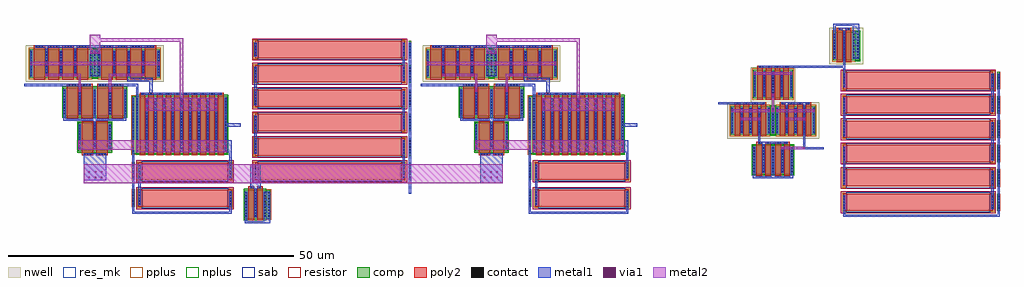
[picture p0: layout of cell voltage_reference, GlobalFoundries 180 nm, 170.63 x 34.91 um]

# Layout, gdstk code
from math import pi, radians
import gdstk
lib = gdstk.Library(unit=1e-6, precision=5e-09)
def R(c, l, rs):  # rectangles x0, y0, x1, y1
    for r in rs: c.add(gdstk.rectangle(r[:2], r[2:], *l))
def A(c, l, x, y, w, h, nx, ny, dx, dy):  # array of equal rectangles
    R(c, l, [(x+i*dx, y+j*dy, x+i*dx+w, y+j*dy+h) for i in range(nx) for j in range(ny)])
nwell = (21, 0)
comp = (22, 0)
poly2 = (30, 0)
pplus = (31, 0)
nplus = (32, 0)
contact = (33, 0)
metal1 = (34, 0)
via1 = (35, 0)
metal2 = (36, 0)
sab = (49, 0)
resistor = (62, 0)
res_mk = (110, 5)

nfet = lib.new_cell('nfet')
R(nfet, comp, [(-0.42,0,0,5), (0,0,4.9,5), (4.9,0,5.32,5)])
R(nfet, poly2, [(0.19,-0.3,2.19,5.3), (2.71,-0.3,4.71,5.3), (0.19,5.3,2.19,5.66), (2.71,5.3,4.71,5.66)])
R(nfet, nplus, [(-0.59,-0.24,5.49,5.24)])
A(nfet, contact, -0.32, 0.35, 0.22, 0.22, 3, 9, 2.66, 0.51)
A(nfet, contact, 0.57, 5.37, 0.22, 0.22, 3, 1, 0.51, 0)
A(nfet, contact, 3.09, 5.37, 0.22, 0.22, 3, 1, 0.51, 0)
A(nfet, metal1, -0.4, 0.27, 0.38, 4.46, 3, 1, 2.66, 0)
R(nfet, metal1, [(0.49,5.29,1.89,5.67), (3.01,5.29,4.41,5.67)])

pfet = lib.new_cell('pfet')
R(pfet, nwell, [(-1.15,-0.69,11.82,5.69)])
R(pfet, comp, [(-0.46,0,0,5), (0,0,9.94,5), (9.94,0,10.4,5), (10.4,0,11.13,5)])
A(pfet, poly2, 0.19, -0.3, 2, 5.6, 4, 1, 2.52, 0)
A(pfet, poly2, 0.19, 5.3, 2, 0.38, 4, 1, 2.52, 0)
R(pfet, pplus, [(-0.63,-0.24,10.4,5.24)])
R(pfet, nplus, [(10.4,-0.17,11.3,5.17)])
A(pfet, contact, -0.34, 0.35, 0.22, 0.22, 1, 9, 0, 0.51)
A(pfet, contact, 2.34, 0.35, 0.22, 0.22, 3, 9, 2.52, 0.51)
A(pfet, contact, 10.06, 0.35, 0.22, 0.22, 1, 9, 0, 0.51)
A(pfet, contact, 10.79, 0.35, 0.22, 0.22, 1, 9, 0, 0.51)
A(pfet, contact, 0.57, 5.38, 0.22, 0.22, 3, 1, 0.51, 0)
A(pfet, contact, 3.09, 5.38, 0.22, 0.22, 3, 1, 0.51, 0)
A(pfet, contact, 5.61, 5.38, 0.22, 0.22, 3, 1, 0.51, 0)
A(pfet, contact, 8.13, 5.38, 0.22, 0.22, 3, 1, 0.51, 0)
A(pfet, metal1, 2.26, 0.27, 0.38, 4.46, 3, 1, 2.52, 0)
A(pfet, metal1, 0.49, 5.3, 1.4, 0.38, 4, 1, 2.52, 0)
R(pfet, metal1, [(-0.42,0.27,-0.04,4.73), (9.98,0.27,10.36,4.73), (10.71,0.27,11.09,4.73)])

pfet_1 = lib.new_cell('pfet$1')
R(pfet_1, nwell, [(-1.15,-0.69,11.82,5.69)])
R(pfet_1, comp, [(-0.46,0,0,5), (0,0,9.94,5), (9.94,0,10.4,5), (10.4,0,11.13,5)])
A(pfet_1, poly2, 0.19, -0.68, 2, 0.38, 4, 1, 2.52, 0)
A(pfet_1, poly2, 0.19, -0.3, 2, 5.6, 4, 1, 2.52, 0)
R(pfet_1, pplus, [(-0.63,-0.24,10.4,5.24)])
R(pfet_1, nplus, [(10.4,-0.17,11.3,5.17)])
A(pfet_1, contact, 0.57, -0.6, 0.22, 0.22, 3, 1, 0.51, 0)
A(pfet_1, contact, 3.09, -0.6, 0.22, 0.22, 3, 1, 0.51, 0)
A(pfet_1, contact, 5.61, -0.6, 0.22, 0.22, 3, 1, 0.51, 0)
A(pfet_1, contact, 8.13, -0.6, 0.22, 0.22, 3, 1, 0.51, 0)
A(pfet_1, contact, -0.34, 0.35, 0.22, 0.22, 1, 9, 0, 0.51)
A(pfet_1, contact, 2.34, 0.35, 0.22, 0.22, 3, 9, 2.52, 0.51)
A(pfet_1, contact, 10.06, 0.35, 0.22, 0.22, 1, 9, 0, 0.51)
A(pfet_1, contact, 10.79, 0.35, 0.22, 0.22, 1, 9, 0, 0.51)
A(pfet_1, metal1, 0.49, -0.68, 1.4, 0.38, 4, 1, 2.52, 0)
A(pfet_1, metal1, 2.26, 0.27, 0.38, 4.46, 3, 1, 2.52, 0)
R(pfet_1, metal1, [(-0.42,0.27,-0.04,4.73), (9.98,0.27,10.36,4.73), (10.71,0.27,11.09,4.73)])

nfet_3 = lib.new_cell('nfet$3')
R(nfet_3, comp, [(-0.42,0,0,10), (0,0,15.06,10), (15.06,0,15.48,10), (15.48,0,16.19,10)])
A(nfet_3, poly2, 0.19, -0.66, 1, 0.36, 10, 1, 1.52, 0)
A(nfet_3, poly2, 0.19, -0.3, 1, 10.6, 10, 1, 1.52, 0)
R(nfet_3, pplus, [(15.48,-0.17,16.36,10.17)])
R(nfet_3, nplus, [(-0.59,-0.24,15.48,10.24)])
A(nfet_3, contact, 0.58, -0.59, 0.22, 0.22, 10, 1, 1.52, 0)
A(nfet_3, contact, -0.32, 0.3, 0.22, 0.22, 1, 19, 0, 0.51)
A(nfet_3, contact, 1.34, 0.3, 0.22, 0.22, 9, 19, 1.52, 0.51)
A(nfet_3, contact, 15.16, 0.3, 0.22, 0.22, 1, 19, 0, 0.51)
A(nfet_3, contact, 15.87, 0.3, 0.22, 0.22, 1, 19, 0, 0.51)
A(nfet_3, metal1, 0.5, -0.67, 0.38, 0.38, 10, 1, 1.52, 0)
A(nfet_3, metal1, 1.26, 0.22, 0.38, 9.56, 9, 1, 1.52, 0)
R(nfet_3, metal1, [(-0.4,0.22,-0.02,9.78), (15.08,0.22,15.46,9.78), (15.79,0.22,16.17,9.78)])

nfet_1 = lib.new_cell('nfet$1')
R(nfet_1, comp, [(-0.42,0,0,5), (0,0,4.9,5), (4.9,0,5.32,5)])
R(nfet_1, poly2, [(0.19,-0.66,2.19,-0.3), (2.71,-0.66,4.71,-0.3), (0.19,-0.3,2.19,5.3), (2.71,-0.3,4.71,5.3)])
R(nfet_1, nplus, [(-0.59,-0.24,5.49,5.24)])
A(nfet_1, contact, 0.57, -0.59, 0.22, 0.22, 3, 1, 0.51, 0)
A(nfet_1, contact, 3.09, -0.59, 0.22, 0.22, 3, 1, 0.51, 0)
A(nfet_1, contact, -0.32, 0.35, 0.22, 0.22, 3, 9, 2.66, 0.51)
A(nfet_1, metal1, -0.4, 0.27, 0.38, 4.46, 3, 1, 2.66, 0)
R(nfet_1, metal1, [(0.49,-0.67,1.89,-0.29), (3.01,-0.67,4.41,-0.29)])

ppolyf_u_high_rs_resisto = lib.new_cell('ppolyf_u_high_Rs_resistor')
R(ppolyf_u_high_rs_resisto, comp, [(-1.76,0,-1.34,3)])
R(ppolyf_u_high_rs_resisto, poly2, [(-0.64,0,15.64,3)])
R(ppolyf_u_high_rs_resisto, pplus, [(-0.82,-0.18,0,3.18), (15,-0.18,15.82,3.18), (-1.78,-0.02,-1.32,3.02)])
A(ppolyf_u_high_rs_resisto, contact, -1.66, 0.37, 0.22, 0.22, 1, 5, 0, 0.51)
A(ppolyf_u_high_rs_resisto, contact, -0.57, 0.37, 0.22, 0.22, 1, 5, 0, 0.51)
A(ppolyf_u_high_rs_resisto, contact, 15.35, 0.37, 0.22, 0.22, 1, 5, 0, 0.51)
R(ppolyf_u_high_rs_resisto, metal1, [(-1.74,0.29,-1.36,2.71), (-0.65,0.29,-0.27,2.71), (15.27,0.29,15.65,2.71)])
R(ppolyf_u_high_rs_resisto, sab, [(-0.1,-0.28,15.1,3.28)])
R(ppolyf_u_high_rs_resisto, resistor, [(-1.04,-0.4,16.04,3.4)])
R(ppolyf_u_high_rs_resisto, res_mk, [(0,0,15,3)])

nfet_2 = lib.new_cell('nfet$2')
R(nfet_2, comp, [(-0.42,0,0,5), (0,0,2.9,5), (2.9,0,3.32,5), (3.32,0,4.03,5)])
R(nfet_2, poly2, [(0.19,-0.3,1.19,5.3), (1.71,-0.3,2.71,5.3), (0.19,5.3,1.19,5.66), (1.71,5.3,2.71,5.66)])
R(nfet_2, pplus, [(3.32,-0.17,4.2,5.17)])
R(nfet_2, nplus, [(-0.59,-0.24,3.32,5.24)])
A(nfet_2, contact, -0.32, 0.35, 0.22, 0.22, 3, 9, 1.66, 0.51)
A(nfet_2, contact, 3.71, 0.35, 0.22, 0.22, 1, 9, 0, 0.51)
R(nfet_2, contact, [(0.58,5.37,0.8,5.59), (2.1,5.37,2.32,5.59)])
A(nfet_2, metal1, -0.4, 0.27, 0.38, 4.46, 3, 1, 1.66, 0)
R(nfet_2, metal1, [(3.63,0.27,4.01,4.73), (0.5,5.29,0.88,5.67), (2.02,5.29,2.4,5.67)])

c_ppolyf_u_high_rs_resisto = lib.new_cell('ppolyf_u_high_Rs_resistor$8')
R(c_ppolyf_u_high_rs_resisto, comp, [(-1.76,0,-1.34,3)])
R(c_ppolyf_u_high_rs_resisto, poly2, [(-0.64,0,25.64,3)])
R(c_ppolyf_u_high_rs_resisto, pplus, [(-0.82,-0.18,0,3.18), (25,-0.18,25.82,3.18), (-1.78,-0.02,-1.32,3.02)])
A(c_ppolyf_u_high_rs_resisto, contact, -1.66, 0.37, 0.22, 0.22, 1, 5, 0, 0.51)
A(c_ppolyf_u_high_rs_resisto, contact, -0.57, 0.37, 0.22, 0.22, 1, 5, 0, 0.51)
A(c_ppolyf_u_high_rs_resisto, contact, 25.35, 0.37, 0.22, 0.22, 1, 5, 0, 0.51)
R(c_ppolyf_u_high_rs_resisto, metal1, [(-1.74,0.29,-1.36,2.71), (-0.65,0.29,-0.27,2.71), (25.27,0.29,25.65,2.71)])
R(c_ppolyf_u_high_rs_resisto, sab, [(-0.1,-0.28,25.1,3.28)])
R(c_ppolyf_u_high_rs_resisto, resistor, [(-1.04,-0.4,26.04,3.4)])
R(c_ppolyf_u_high_rs_resisto, res_mk, [(0,0,25,3)])

pfet_5 = lib.new_cell('pfet$5')
R(pfet_5, nwell, [(-1.15,-0.69,4.78,5.69)])
R(pfet_5, comp, [(-0.46,0,0,5), (0,0,2.9,5), (2.9,0,3.36,5), (3.36,0,4.09,5)])
R(pfet_5, poly2, [(0.19,-0.3,1.19,5.3), (1.71,-0.3,2.71,5.3), (0.19,5.3,1.19,5.68), (1.71,5.3,2.71,5.68)])
R(pfet_5, pplus, [(-0.63,-0.24,3.36,5.24)])
R(pfet_5, nplus, [(3.36,-0.17,4.26,5.17)])
A(pfet_5, contact, -0.34, 0.35, 0.22, 0.22, 3, 9, 1.68, 0.51)
A(pfet_5, contact, 3.75, 0.35, 0.22, 0.22, 1, 9, 0, 0.51)
R(pfet_5, contact, [(0.58,5.38,0.8,5.6), (2.1,5.38,2.32,5.6)])
A(pfet_5, metal1, -0.42, 0.27, 0.38, 4.46, 3, 1, 1.68, 0)
R(pfet_5, metal1, [(3.67,0.27,4.05,4.73), (0.5,5.3,0.88,5.68), (2.02,5.3,2.4,5.68)])

pfet_3 = lib.new_cell('pfet$3')
R(pfet_3, nwell, [(-0.9,-0.44,6.84,5.44)])
R(pfet_3, comp, [(-0.46,0,0,5), (0,0,5.94,5), (5.94,0,6.4,5)])
A(pfet_3, poly2, 0.19, -0.3, 1, 5.6, 4, 1, 1.52, 0)
A(pfet_3, poly2, 0.19, 5.3, 1, 0.38, 4, 1, 1.52, 0)
R(pfet_3, pplus, [(-0.63,-0.24,6.57,5.24)])
A(pfet_3, contact, -0.34, 0.35, 0.22, 0.22, 1, 9, 0, 0.51)
A(pfet_3, contact, 1.34, 0.35, 0.22, 0.22, 3, 9, 1.52, 0.51)
A(pfet_3, contact, 6.06, 0.35, 0.22, 0.22, 1, 9, 0, 0.51)
A(pfet_3, contact, 0.58, 5.38, 0.22, 0.22, 4, 1, 1.52, 0)
A(pfet_3, metal1, 1.26, 0.27, 0.38, 4.46, 3, 1, 1.52, 0)
A(pfet_3, metal1, 0.5, 5.3, 0.38, 0.38, 4, 1, 1.52, 0)
R(pfet_3, metal1, [(-0.42,0.27,-0.04,4.73), (5.98,0.27,6.36,4.73)])

pfet_2 = lib.new_cell('pfet$2')
R(pfet_2, nwell, [(-1.15,-0.69,7.82,5.69)])
R(pfet_2, comp, [(-0.46,0,0,5), (0,0,5.94,5), (5.94,0,6.4,5), (6.4,0,7.13,5)])
A(pfet_2, poly2, 0.19, -0.3, 1, 5.6, 4, 1, 1.52, 0)
A(pfet_2, poly2, 0.19, 5.3, 1, 0.38, 4, 1, 1.52, 0)
R(pfet_2, pplus, [(-0.63,-0.24,6.4,5.24)])
R(pfet_2, nplus, [(6.4,-0.17,7.3,5.17)])
A(pfet_2, contact, -0.34, 0.35, 0.22, 0.22, 1, 9, 0, 0.51)
A(pfet_2, contact, 1.34, 0.35, 0.22, 0.22, 3, 9, 1.52, 0.51)
A(pfet_2, contact, 6.06, 0.35, 0.22, 0.22, 1, 9, 0, 0.51)
A(pfet_2, contact, 6.79, 0.35, 0.22, 0.22, 1, 9, 0, 0.51)
A(pfet_2, contact, 0.58, 5.38, 0.22, 0.22, 4, 1, 1.52, 0)
A(pfet_2, metal1, 1.26, 0.27, 0.38, 4.46, 3, 1, 1.52, 0)
A(pfet_2, metal1, 0.5, 5.3, 0.38, 0.38, 4, 1, 1.52, 0)
R(pfet_2, metal1, [(-0.42,0.27,-0.04,4.73), (5.98,0.27,6.36,4.73), (6.71,0.27,7.09,4.73)])

nfet_4 = lib.new_cell('nfet$4')
R(nfet_4, comp, [(-0.42,0,0,5), (0,0,2.9,5), (2.9,0,3.32,5)])
R(nfet_4, poly2, [(0.19,-0.3,1.19,5.3), (1.71,-0.3,2.71,5.3), (0.19,5.3,1.19,5.66), (1.71,5.3,2.71,5.66)])
R(nfet_4, nplus, [(-0.59,-0.24,3.49,5.24)])
A(nfet_4, contact, -0.32, 0.35, 0.22, 0.22, 3, 9, 1.66, 0.51)
R(nfet_4, contact, [(0.58,5.37,0.8,5.59), (2.1,5.37,2.32,5.59)])
A(nfet_4, metal1, -0.4, 0.27, 0.38, 4.46, 3, 1, 1.66, 0)
R(nfet_4, metal1, [(0.5,5.29,0.88,5.67), (2.02,5.29,2.4,5.67)])

voltage_reference = lib.new_cell('voltage_reference')
R(voltage_reference, nwell, [(131.685,23.305,139.425,23.545)])
A(voltage_reference, metal1, 173.72, 4.585, 0.38, 6.68, 1, 3, 0, 8.52)
A(voltage_reference, metal1, 70.81, 10, 0.38, 6.68, 1, 3, 0, 8.52)
R(voltage_reference, metal1, [(46.55,2.11,47.64,7.655), (174.81,4.585,175.19,28.305), (23.505,5.3,23.885,14.535), (24.595,5.3,24.975,12.44), (92.855,5.3,93.235,14.535), (93.945,5.3,94.325,12.44), (44.13,8.215,46.03,8.595), (44.13,8.595,46.03,12.42), (147.8,8.845,148.18,15.525), (84.38,9.165,88.3,14.385), (15.03,9.665,18.95,14.385), (71.9,10,72.28,33.72), (40.515,12.44,40.895,16.625), (109.865,12.44,110.245,16.625), (15.03,14.005,18.95,14.385), (84.38,14.005,88.3,14.385), (44.89,14.26,45.27,20.94), (40.075,14.535,40.515,16.63), (109.425,14.535,109.865,16.63), (132.945,16.02,138.165,16.4), (147.8,17.365,148.18,24.045), (44.89,22.78,45.27,29.46), (129.155,22.915,134.095,23.295), (137.015,22.915,141.955,23.295), (25.115,24.605,39.175,24.985), (94.465,24.605,108.525,24.985), (12.37,26.105,16.29,26.485), (17.69,26.105,21.61,26.485), (81.72,26.105,85.64,26.485), (87.04,26.105,90.96,26.485), (16.07,27.805,17.91,32.265), (85.42,27.805,87.26,32.265), (133.085,29.285,138.025,29.665), (149.48,30.88,150.59,35.34), (6.58,32.835,27.4,33.215), (75.93,32.835,96.75,33.215), (149.86,35.34,150.59,37.025), (147.04,35.91,148.94,36.29)])
A(voltage_reference, via1, 32.025, 22.11, 0.26, 0.26, 3, 2, 3.035, 0.8)
A(voltage_reference, via1, 101.375, 22.11, 0.26, 0.26, 3, 2, 3.035, 0.8)
A(voltage_reference, via1, 32.025, 23.64, 0.26, 0.26, 3, 1, 3.035, 0)
A(voltage_reference, via1, 101.375, 23.64, 0.26, 0.26, 3, 1, 3.035, 0)
R(voltage_reference, via1, [(44.475,9.42,44.735,9.68), (45.425,9.42,45.685,9.68), (15.815,10.03,16.075,10.29), (16.955,10.03,17.215,10.29), (17.985,10.03,18.245,10.29), (85.01,10.03,85.27,10.29), (86.15,10.03,86.41,10.29), (87.18,10.03,87.44,10.29), (44.475,10.56,44.735,10.82), (45.425,10.56,45.685,10.82), (15.815,10.98,16.075,11.24), (16.955,10.98,17.215,11.24), (17.985,10.98,18.245,11.24), (85.01,10.98,85.27,11.24), (86.15,10.98,86.41,11.24), (87.18,10.98,87.44,11.24), (44.475,11.59,44.735,11.85), (45.425,11.59,45.685,11.85), (24.285,14.595,24.545,14.855), (27.465,14.595,27.725,14.855), (30.49,14.595,30.75,14.855), (33.53,14.595,33.79,14.855), (36.58,14.595,36.84,14.855), (39.76,14.595,40.02,14.855), (93.635,14.595,93.895,14.855), (96.815,14.595,97.075,14.855), (99.84,14.595,100.1,14.855), (102.88,14.595,103.14,14.855), (105.93,14.595,106.19,14.855), (109.11,14.595,109.37,14.855), (137.085,15.14,137.345,15.4), (140.88,15.14,141.14,15.4), (14.2,15.395,14.46,15.655), (19.52,15.395,19.78,15.655), (23.545,15.395,23.805,15.655), (24.285,15.395,24.545,15.655), (27.465,15.395,27.725,15.655), (30.49,15.395,30.75,15.655), (33.53,15.395,33.79,15.655), (36.58,15.395,36.84,15.655), (39.76,15.395,40.02,15.655), (83.55,15.395,83.81,15.655), (88.87,15.395,89.13,15.655), (92.895,15.395,93.155,15.655), (93.635,15.395,93.895,15.655), (96.815,15.395,97.075,15.655), (99.84,15.395,100.1,15.655), (102.88,15.395,103.14,15.655), (105.93,15.395,106.19,15.655), (109.11,15.395,109.37,15.655), (14.2,16.125,14.46,16.385), (19.52,16.125,19.78,16.385), (23.545,16.125,23.805,16.385), (24.285,16.125,24.545,16.385), (27.465,16.125,27.725,16.385), (30.49,16.125,30.75,16.385), (33.53,16.125,33.79,16.385), (36.58,16.125,36.84,16.385), (39.76,16.125,40.02,16.385), (83.55,16.125,83.81,16.385), (88.87,16.125,89.13,16.385), (92.895,16.125,93.155,16.385), (93.635,16.125,93.895,16.385), (96.815,16.125,97.075,16.385), (99.84,16.125,100.1,16.385), (102.88,16.125,103.14,16.385), (105.93,16.125,106.19,16.385), (109.11,16.125,109.37,16.385), (129.97,20.19,130.23,20.45), (133.02,20.19,133.28,20.45), (137.83,20.19,138.09,20.45), (140.88,20.19,141.14,20.45), (128.29,21.65,128.55,21.91), (131.505,21.65,131.765,21.91), (134.71,21.65,134.97,21.91), (135.43,21.65,135.69,21.91), (136.16,21.65,136.42,21.91), (139.375,21.65,139.635,21.91), (142.58,21.65,142.84,21.91), (25.93,22.11,26.19,22.37), (28.965,22.11,29.225,22.37), (95.28,22.11,95.54,22.37), (98.315,22.11,98.575,22.37), (25.93,22.91,26.19,23.17), (28.965,22.91,29.225,23.17), (95.28,22.91,95.54,23.17), (98.315,22.91,98.575,23.17), (25.93,23.64,26.19,23.9), (28.965,23.64,29.225,23.9), (95.28,23.64,95.54,23.9), (98.315,23.64,98.575,23.9), (135.43,24.35,135.69,24.61), (14.2,25.225,14.46,25.485), (19.525,25.225,19.785,25.485), (83.55,25.225,83.81,25.485), (88.875,25.225,89.135,25.485), (8.405,27.93,8.665,28.19), (13.47,27.93,13.73,28.19), (77.755,27.93,78.015,28.19), (82.82,27.93,83.08,28.19), (20.27,27.94,20.53,28.2), (25.335,27.94,25.595,28.2), (89.62,27.94,89.88,28.2), (94.685,27.94,94.945,28.2), (132.22,28.15,132.48,28.41), (135.435,28.15,135.695,28.41), (138.64,28.15,138.9,28.41), (5.725,29.88,5.985,30.14), (10.93,29.88,11.19,30.14), (16.13,29.88,16.39,30.14), (16.86,29.88,17.12,30.14), (17.595,29.88,17.855,30.14), (22.79,29.88,23.05,30.14), (27.995,29.88,28.255,30.14), (75.075,29.88,75.335,30.14), (80.28,29.88,80.54,30.14), (85.48,29.88,85.74,30.14), (86.21,29.88,86.47,30.14), (86.945,29.88,87.205,30.14), (92.14,29.88,92.4,30.14), (97.345,29.88,97.605,30.14), (16.13,31.93,16.39,32.19), (16.86,31.93,17.12,32.19), (17.595,31.93,17.855,32.19), (85.48,31.93,85.74,32.19), (86.21,31.93,86.47,32.19), (86.945,31.93,87.205,32.19)])
R(voltage_reference, metal2, [(15.03,9.165,88.3,12.42), (24.215,14.535,40.075,16.63), (93.565,14.535,109.425,16.63), (14.12,14.95,23.885,16.635), (83.47,14.95,93.235,16.635), (137.025,15.055,141.195,15.46), (129.915,20.115,133.335,20.59), (137.775,20.115,141.195,20.59), (135.365,21.495,135.745,24.765), (128.235,21.575,135.015,22.05), (136.105,21.575,142.885,22.05), (25.875,21.825,38.415,24.095), (95.225,21.825,107.765,24.095), (14.14,25.075,14.52,28.28), (19.46,25.075,19.84,28.28), (83.49,25.075,83.87,28.28), (88.81,25.075,89.19,28.28), (132.165,28.075,138.945,28.535), (16.07,31.765,17.91,35.08), (85.42,31.765,87.26,35.08)])
voltage_reference.add(gdstk.FlexPath([(11.67,21.085),(11.67,20.22),(22.31,20.22),(22.31,21.085)], 0.38, ends="flush", simple_path=True, layer=34, datatype=0))  # metal1
voltage_reference.add(gdstk.FlexPath([(16.99,21.085),(16.99,20.41)], 0.38, ends="flush", simple_path=True, layer=34, datatype=0))  # metal1
voltage_reference.add(gdstk.FlexPath([(16.99,19.405),(16.99,20.03)], 0.38, ends="flush", simple_path=True, layer=34, datatype=0))  # metal1
voltage_reference.add(gdstk.FlexPath([(8.54,32.265),(8.54,32.835)], 0.38, ends="flush", simple_path=True, layer=34, datatype=0))  # metal1
voltage_reference.add(gdstk.FlexPath([(13.58,32.265),(13.58,32.835)], 0.38, ends="flush", simple_path=True, layer=34, datatype=0))  # metal1
voltage_reference.add(gdstk.FlexPath([(21.61,26.295),(24.405,26.295),(24.405,24.095)], 0.38, ends="flush", simple_path=True, layer=34, datatype=0))  # metal1
voltage_reference.add(gdstk.FlexPath([(22.92,27.805),(22.92,27.235),(26.825,27.235),(26.825,24.975)], 0.6, ends="flush", simple_path=True, layer=34, datatype=0))  # metal1
voltage_reference.add(gdstk.FlexPath([(40.075,19.315),(42.49,19.315)], 0.6, ends="flush", simple_path=True, layer=34, datatype=0))  # metal1
voltage_reference.add(gdstk.FlexPath([(12.37,26.295),(4.6,26.295)], 0.38, ends="flush", simple_path=True, layer=34, datatype=0))  # metal1
voltage_reference.add(gdstk.FlexPath([(72.09,10),(72.09,7.265)], 0.38, ends="flush", simple_path=True, layer=34, datatype=0))  # metal1
voltage_reference.add(gdstk.FlexPath([(40.705,5.3),(40.705,3.99),(23.695,3.99),(23.695,5.3)], 0.38, ends="flush", simple_path=True, layer=34, datatype=0))  # metal1
voltage_reference.add(gdstk.FlexPath([(81.02,21.085),(81.02,20.22),(91.66,20.22),(91.66,21.085)], 0.38, ends="flush", simple_path=True, layer=34, datatype=0))  # metal1
voltage_reference.add(gdstk.FlexPath([(86.34,21.085),(86.34,20.41)], 0.38, ends="flush", simple_path=True, layer=34, datatype=0))  # metal1
voltage_reference.add(gdstk.FlexPath([(86.34,19.405),(86.34,20.03)], 0.38, ends="flush", simple_path=True, layer=34, datatype=0))  # metal1
voltage_reference.add(gdstk.FlexPath([(77.89,32.265),(77.89,32.835)], 0.38, ends="flush", simple_path=True, layer=34, datatype=0))  # metal1
voltage_reference.add(gdstk.FlexPath([(82.93,32.265),(82.93,32.835)], 0.38, ends="flush", simple_path=True, layer=34, datatype=0))  # metal1
voltage_reference.add(gdstk.FlexPath([(90.96,26.295),(93.755,26.295),(93.755,24.095)], 0.38, ends="flush", simple_path=True, layer=34, datatype=0))  # metal1
voltage_reference.add(gdstk.FlexPath([(92.27,27.805),(92.27,27.235),(96.175,27.235),(96.175,24.975)], 0.6, ends="flush", simple_path=True, layer=34, datatype=0))  # metal1
voltage_reference.add(gdstk.FlexPath([(81.72,26.295),(73.95,26.295)], 0.38, ends="flush", simple_path=True, layer=34, datatype=0))  # metal1
voltage_reference.add(gdstk.FlexPath([(109.425,19.315),(111.84,19.315)], 0.6, ends="flush", simple_path=True, layer=34, datatype=0))  # metal1
voltage_reference.add(gdstk.FlexPath([(110.055,5.3),(110.055,3.99),(93.045,3.99),(93.045,5.3)], 0.38, ends="flush", simple_path=True, layer=34, datatype=0))  # metal1
voltage_reference.add(gdstk.FlexPath([(43.42,3.195),(43.42,2.3),(46.74,2.3),(46.74,3.195)], 0.38, ends="flush", simple_path=True, layer=34, datatype=0))  # metal1
voltage_reference.add(gdstk.FlexPath([(45.08,7.655),(45.08,8.215)], 0.38, ends="flush", simple_path=True, layer=34, datatype=0))  # metal1
voltage_reference.add(gdstk.FlexPath([(147.99,35.34),(147.99,35.91)], 0.38, ends="flush", simple_path=True, layer=34, datatype=0))  # metal1
voltage_reference.add(gdstk.FlexPath([(146.31,35.34),(146.31,36.835),(149.67,36.835),(149.67,35.34)], 0.38, ends="flush", simple_path=True, layer=34, datatype=0))  # metal1
voltage_reference.add(gdstk.FlexPath([(147.99,30.88),(147.99,28.305)], 0.38, ends="flush", simple_path=True, layer=34, datatype=0))  # metal1
voltage_reference.add(gdstk.FlexPath([(138.025,29.475),(147.8,29.475)], 0.38, ends="flush", simple_path=True, layer=34, datatype=0))  # metal1
voltage_reference.add(gdstk.FlexPath([(129.155,23.105),(125.995,23.105)], 0.38, ends="flush", simple_path=True, layer=34, datatype=0))  # metal1
voltage_reference.add(gdstk.FlexPath([(141.195,15.26),(144.425,15.26)], 0.38, ends="flush", simple_path=True, layer=34, datatype=0))  # metal1
voltage_reference.add(gdstk.FlexPath([(141.005,22.345),(141.005,22.915)], 0.38, ends="flush", simple_path=True, layer=34, datatype=0))  # metal1
voltage_reference.add(gdstk.FlexPath([(137.965,22.345),(137.965,22.915)], 0.38, ends="flush", simple_path=True, layer=34, datatype=0))  # metal1
voltage_reference.add(gdstk.FlexPath([(141.005,17.885),(141.005,15.055)], 0.38, ends="flush", simple_path=True, layer=34, datatype=0))  # metal1
voltage_reference.add(gdstk.FlexPath([(133.145,17.885),(133.145,16.4)], 0.38, ends="flush", simple_path=True, layer=34, datatype=0))  # metal1
voltage_reference.add(gdstk.FlexPath([(133.895,15.46),(133.895,16.02)], 0.38, ends="flush", simple_path=True, layer=34, datatype=0))  # metal1
voltage_reference.add(gdstk.FlexPath([(135.555,11),(135.555,10.345)], 0.38, ends="flush", simple_path=True, layer=34, datatype=0))  # metal1
voltage_reference.add(gdstk.FlexPath([(132.235,11),(132.235,10.155),(138.875,10.155),(138.875,11)], 0.38, ends="flush", simple_path=True, layer=34, datatype=0))  # metal1
voltage_reference.add(gdstk.FlexPath([(147.99,4.585),(147.99,3.445),(175,3.445),(175,4.585)], 0.38, ends="flush", simple_path=True, layer=34, datatype=0))  # metal1
voltage_reference.add(gdstk.FlexPath([(14.14,28.06),(8.35,28.06)], 0.4, ends="flush", simple_path=True, layer=36, datatype=0))  # metal2
voltage_reference.add(gdstk.FlexPath([(19.84,28.035),(25.63,28.035)], 0.4, ends="flush", simple_path=True, layer=36, datatype=0))  # metal2
voltage_reference.add(gdstk.FlexPath([(5.67,30.035),(28.31,30.035)], 0.6, ends="flush", simple_path=True, layer=36, datatype=0))  # metal2
voltage_reference.add(gdstk.FlexPath([(32.145,24.095),(32.145,34.13),(17.91,34.13)], 0.6, ends="flush", simple_path=True, layer=36, datatype=0))  # metal2
voltage_reference.add(gdstk.FlexPath([(83.49,28.06),(77.7,28.06)], 0.4, ends="flush", simple_path=True, layer=36, datatype=0))  # metal2
voltage_reference.add(gdstk.FlexPath([(89.19,28.035),(94.98,28.035)], 0.4, ends="flush", simple_path=True, layer=36, datatype=0))  # metal2
voltage_reference.add(gdstk.FlexPath([(75.02,30.035),(97.66,30.035)], 0.6, ends="flush", simple_path=True, layer=36, datatype=0))  # metal2
voltage_reference.add(gdstk.FlexPath([(101.495,24.095),(101.495,34.13),(87.26,34.13)], 0.6, ends="flush", simple_path=True, layer=36, datatype=0))  # metal2
voltage_reference.add(gdstk.Reference(nfet, (11.88,20.815)))
voltage_reference.add(gdstk.Reference(nfet, (17.2,20.815)))
voltage_reference.add(gdstk.Reference(pfet, (6.09,27.535)))
voltage_reference.add(gdstk.Reference(pfet_1, (27.89,32.535), rotation=pi))
voltage_reference.add(gdstk.Reference(nfet_3, (39.675,24.315), rotation=pi))
voltage_reference.add(gdstk.Reference(nfet_1, (14.54,14.675)))
voltage_reference.add(gdstk.Reference(ppolyf_u_high_rs_resisto, (25.245,9.73)))
voltage_reference.add(gdstk.Reference(ppolyf_u_high_rs_resisto, (25.245,5.01)))
voltage_reference.add(gdstk.Reference(nfet, (81.23,20.815)))
voltage_reference.add(gdstk.Reference(nfet, (86.55,20.815)))
voltage_reference.add(gdstk.Reference(pfet, (75.44,27.535)))
voltage_reference.add(gdstk.Reference(pfet_1, (97.24,32.535), rotation=pi))
voltage_reference.add(gdstk.Reference(nfet_3, (109.025,24.315), rotation=pi))
voltage_reference.add(gdstk.Reference(nfet_1, (83.89,14.675)))
voltage_reference.add(gdstk.Reference(ppolyf_u_high_rs_resisto, (94.595,9.73)))
voltage_reference.add(gdstk.Reference(ppolyf_u_high_rs_resisto, (94.595,5.01)))
voltage_reference.add(gdstk.Reference(nfet_2, (43.63,2.925)))
voltage_reference.add(gdstk.Reference(c_ppolyf_u_high_rs_resisto, (70.54,9.71), rotation=pi, x_reflection=True))
voltage_reference.add(gdstk.Reference(c_ppolyf_u_high_rs_resisto, (70.54,13.97), rotation=pi, x_reflection=True))
voltage_reference.add(gdstk.Reference(c_ppolyf_u_high_rs_resisto, (70.54,18.23), rotation=pi, x_reflection=True))
voltage_reference.add(gdstk.Reference(c_ppolyf_u_high_rs_resisto, (70.54,22.49), rotation=pi, x_reflection=True))
voltage_reference.add(gdstk.Reference(c_ppolyf_u_high_rs_resisto, (70.54,26.75), rotation=pi, x_reflection=True))
voltage_reference.add(gdstk.Reference(c_ppolyf_u_high_rs_resisto, (70.54,31.01), rotation=pi, x_reflection=True))
voltage_reference.add(gdstk.Reference(c_ppolyf_u_high_rs_resisto, (173.45,4.295), rotation=pi, x_reflection=True))
voltage_reference.add(gdstk.Reference(c_ppolyf_u_high_rs_resisto, (173.45,8.555), rotation=pi, x_reflection=True))
voltage_reference.add(gdstk.Reference(c_ppolyf_u_high_rs_resisto, (173.45,12.815), rotation=pi, x_reflection=True))
voltage_reference.add(gdstk.Reference(c_ppolyf_u_high_rs_resisto, (173.45,17.075), rotation=pi, x_reflection=True))
voltage_reference.add(gdstk.Reference(c_ppolyf_u_high_rs_resisto, (173.45,21.335), rotation=pi, x_reflection=True))
voltage_reference.add(gdstk.Reference(c_ppolyf_u_high_rs_resisto, (173.45,25.595), rotation=pi, x_reflection=True))
voltage_reference.add(gdstk.Reference(pfet_5, (146.54,30.61)))
voltage_reference.add(gdstk.Reference(pfet_3, (132.585,23.985)))
voltage_reference.add(gdstk.Reference(pfet_2, (142.455,17.615), rotation=pi, x_reflection=True))
voltage_reference.add(gdstk.Reference(pfet_2, (128.655,17.615)))
voltage_reference.add(gdstk.Reference(nfet_4, (135.765,10.73)))
voltage_reference.add(gdstk.Reference(nfet_4, (132.445,10.73)))

lib.write_gds('voltage_reference.gds')
